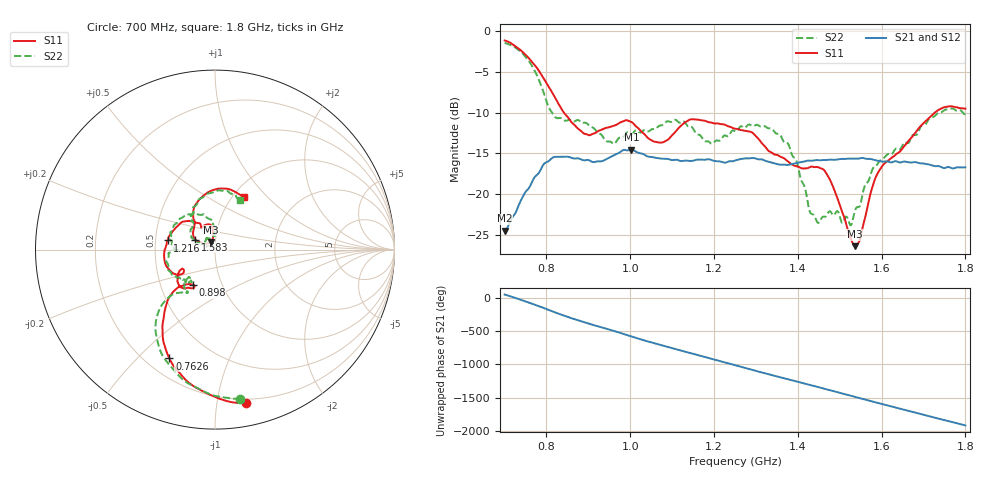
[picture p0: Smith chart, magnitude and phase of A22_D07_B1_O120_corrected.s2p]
! Created with skrf 1.9.0 (http://scikit-rf.org).
# Hz S RI R 50.0
!freq ReS11 ImS11 ReS21 ImS21 ReS12 ImS12 ReS22 ImS22
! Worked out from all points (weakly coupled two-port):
!   1601 points, 700 MHz to 1.8 GHz, reference 50 ohm
!   highest |S21| = -14.53 dB at 1.002 GHz (marker M1); lowest = -24.4 dB at 700 MHz (marker M2)
!   lowest |S11| = -26.3 dB at 1.536 GHz (marker M3), VSWR 1.10, Z = 47.7 + j4.09 ohm
!   |S11| at or under -10 dB: 841.4 MHz to 1.727 GHz (885.8 MHz wide, 69 % of centre)
!   |S22| runs from -23.8 to -1.5 dB; largest |S21 - S12| = 0.0035
!   S11 on the Smith chart (normalised r, x): 700 MHz: 0.17, -1.21; 762.6 MHz: 0.29, -0.63; 898 MHz: 0.73, -0.30; 1.216 GHz: 0.58, +0.06; 1.583 GHz: 0.80, +0.09; 1.8 GHz: 1.12, +0.74
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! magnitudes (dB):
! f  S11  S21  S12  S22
! 700 MHz  -1.2  -24.4  -24.2  -1.5
! 762.6 MHz  -3.6  -18.8  -18.8  -4.0
! 818.9 MHz  -8.0  -15.4  -15.5  -10.4
! 883.6 MHz  -12.3  -15.8  -15.6  -11.2
! 898 MHz  -12.7  -15.8  -15.9  -11.4
! 958.5 MHz  -11.6  -15.3  -15.3  -13.8
! 1.002 GHz  -11.1  -14.5  -14.6  -12.6
! 1.067 GHz  -13.6  -15.6  -15.5  -11.7
! 1.143 GHz  -10.8  -15.9  -15.9  -11.7
! 1.216 GHz  -11.4  -16.0  -16.0  -13.4
! 1.25 GHz  -12.0  -15.9  -15.8  -12.3
! 1.357 GHz  -15.4  -16.4  -16.3  -12.7
! 1.396 GHz  -16.6  -16.2  -16.2  -15.8
! 1.434 GHz  -16.6  -15.9  -15.9  -22.4
! 1.473 GHz  -17.9  -15.8  -15.8  -22.2
! 1.526 GHz  -25.3  -15.6  -15.6  -23.8
! 1.536 GHz  -26.3  -15.6  -15.6  -22.1
! 1.549 GHz  -25.4  -15.6  -15.6  -21.3
! 1.583 GHz  -18.2  -15.8  -15.8  -16.6
! 1.617 GHz  -15.8  -16.0  -16.0  -15.1
! 1.734 GHz  -9.7  -16.5  -16.6  -10.1
! 1.8 GHz  -9.5  -16.7  -16.7  -10.2
